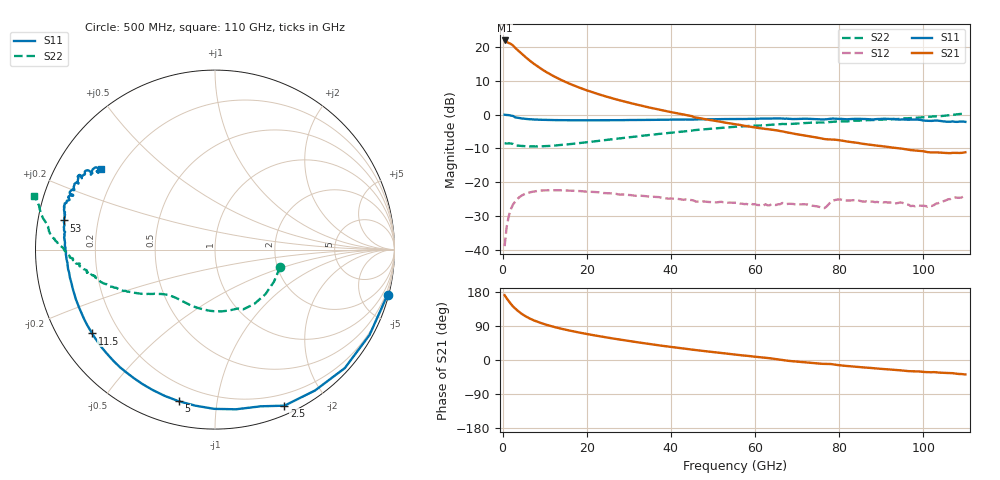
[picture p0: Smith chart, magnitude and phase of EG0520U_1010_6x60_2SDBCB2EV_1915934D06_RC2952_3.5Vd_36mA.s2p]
!File name = EG0520U_1010_6x60_2SDBCB2EV_1915934D06_RC2952_3.5Vd_36mA.s2p
!Base file name = EG0520U_1010_6x60_2SDBCB2EV_1915934D06_RC2952
!Date = 8/23/2019
!Time = 1:16 PM
!Test duration(min) = 0.15
!Test = S-Parameters
!MPTS version = 8.91.5
!State File = C:\Data\PNA\20190821205423\S-Parameters_2019-08-23.sta
!Cal File =
!ComputerName = CMPE-LAB-6
!Comments =
!Attenuation = 0
!Z0 = 50
!Input Power(dBm) = -13.00
!Device ID = EG0520U_1010_6x60_2SDBCB2EV
!Row = 29
!Column = 52
!Technology = QPHT09
!Lot/Wafer = 1915934D06
!Gate Size = 360
!Mask = EG0520
!Cal Standards = GaAs BCB
!Cal Kit = EG2306
!Job Number = 20190821205423
!Device Type = FET
!set_Vg(v) = -1.500
!set_Vd(v) = 3.500
!set_Vd(mA) = 36.000
!file_name = EG0520U_1010_6x60_2SDBCB2EV_1915934D06_RC2952_3.5Vd_36mA.s2p
!Vd(V) = 3.500
!Vd(mA) = 36.092
!Vg(V) = -0.517
!Vg(mA) = -0.003
# GHz  S  DB  R  50
!%	Freq(GHz)  s11(dB)  s11(deg)  s21(dB)  s21(deg)  s12(dB)  s12(deg)  s22(dB)  s22(deg)
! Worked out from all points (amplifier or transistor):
!   220 points, 500 MHz to 110 GHz, reference 50 ohm
!   highest |S21| = 21.8 dB at 500 MHz (marker M1)
!   |S21| within 3 dB of that: start of sweep to 3.744 GHz
!   unconditionally stable (mu >= 1): 31.61 GHz to 102.3 GHz
!   at 18.5 GHz: K = 0.55, MSG = 15.2 dB, |S12| = -22.6 dB
!   at 55.5 GHz: K = 1.54, MAG = 7.2 dB, |S12| = -26.0 dB
!   at 110 GHz: K = -1.94, MSG = 6.3 dB, |S12| = -23.8 dB
!   S11 on the Smith chart (normalised r, x): 500 MHz: 0.20, -7.79; 2.5 GHz: 0.08, -1.54; 5 GHz: 0.11, -0.78; 11.5 GHz: 0.10, -0.31; 53 GHz: 0.08, +0.10; 110 GHz: 0.14, +0.31
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0.5  -0.06 -14.6  21.84 171.1  -38.82 81.0  -8.50 -14.8
1  -0.14 -28.9  21.42 162.5  -33.05 73.5  -8.54 -28.4
1.5  -0.18 -42.4  21.07 155.2  -29.90 66.2  -8.52 -41.5
2  -0.33 -54.6  20.80 147.8  -27.90 59.4  -8.55 -54.3
2.5  -0.43 -66.0  20.35 141.3  -26.52 53.6  -8.68 -64.6
3.5  -0.94 -82.5  19.11 131.0  -24.95 44.7  -9.16 -76.8
4.5  -1.15 -97.2  17.99 122.3  -23.95 37.3  -9.27 -90.1
5  -1.22 -103.4  17.43 118.6  -23.61 34.2  -9.32 -95.5
6  -1.35 -113.9  16.38 112.1  -23.13 29.1  -9.39 -104.5
7.5  -1.47 -125.9  14.91 104.3  -22.70 23.1  -9.40 -114.4
9.5  -1.56 -137.2  13.22 96.2  -22.39 17.4  -9.36 -122.6
11.5  -1.63 -145.7  11.74 89.5  -22.32 13.1  -9.24 -128.5
15  -1.69 -155.9  9.59 79.9  -22.41 7.9  -8.87 -135.2
19  -1.71 -163.9  7.58 70.8  -22.64 3.6  -8.32 -139.6
26.5  -1.67 -173.6  4.63 56.3  -23.31 -0.4  -7.22 -145.4
37  -1.54 178.1  1.50 38.9  -24.34 -1.6  -5.75 -152.3
53  -1.35 169.0  -2.41 17.0  -25.95 2.5  -3.84 -162.8
55.5  -1.34 167.7  -2.90 14.0  -26.01 2.6  -3.58 -164.2
73.5  -1.31 159.5  -6.55 -7.9  -26.85 3.3  -2.38 -173.0
92  -1.32 151.2  -9.63 -24.9  -25.95 -8.5  -1.42 179.2
101  -1.86 148.9  -11.09 -32.1  -27.18 -6.7  -0.68 174.3
110  -2.17 144.6  -11.13 -38.2  -23.83 -8.8  0.42 163.5
